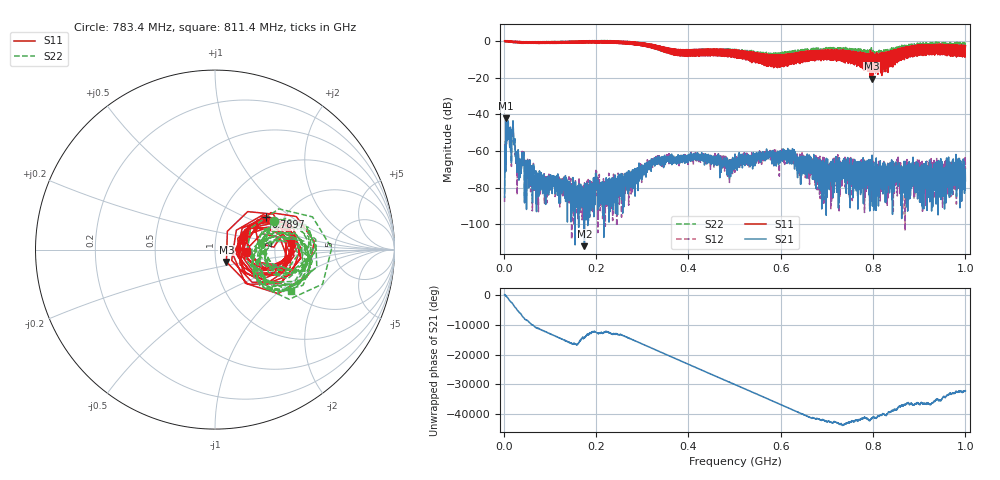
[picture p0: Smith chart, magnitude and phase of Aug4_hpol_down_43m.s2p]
!Keysight Technologies N9923A: A.12.45
!Date: Tuesday, 05 August 2025 19:08:16
!Timezone: (UTC+08:00) Kuala Lumpur, Singapore
!Model: N9923A
!Serial: MY61181427
!GPS Latitude:
!GPS Longitude:
!GPS TimeStamp: 0001-01-01 00:00:00Z
!GPS Seconds Since Last Read: 0
!CHECKSUM:1323468554
!Correction: S11(ON U)S21(ON U)S12(ON U)S22(ON U)
!S2P File: Measurements:S11,S21,S12,S22:
# Hz S DB R 50
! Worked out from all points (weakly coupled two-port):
!   4001 points, 2 MHz to 1 GHz, reference 50 ohm
!   highest |S21| = -42.17 dB at 4.994 MHz (marker M1); lowest = -111.9 dB at 174.9 MHz (marker M2)
!   lowest |S11| = -20.6 dB at 796.9 MHz (marker M3), VSWR 1.21, Z = 56.3 - j7.78 ohm
!   |S11| at or under -10 dB: 575.8151 MHz to 576.6016 MHz (786.4 kHz wide, 0.136 % of centre); 582.5526 MHz to 583.3481 MHz (795.6 kHz wide, 0.136 % of centre); 589.3044 MHz to 590.1067 MHz (802.3 kHz wide, 0.136 % of centre)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
!   |S22| runs from -14.8 to 0.2 dB; largest |S21 - S12| = 0.001
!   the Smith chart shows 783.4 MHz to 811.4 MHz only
!   S11 on the Smith chart (normalised r, x): 783.4 MHz: 1.42, -0.05; 789.7 MHz: 1.63, +0.66; 811.4 MHz: 2.47, +0.21
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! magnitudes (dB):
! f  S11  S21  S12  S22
! 2 MHz  -0.1  -85.2  -87.7  -0.1
! 4.994 MHz  0.1  -42.2  -42.1  0.1
! 9.735 MHz  -0.2  -43.7  -43.7  -0.2
! 22.71 MHz  -0.9  -55.8  -55.5  -0.8
! 30.94 MHz  -1.1  -59.7  -60.2  -1.2
! 60.63 MHz  -0.9  -68.6  -68.0  -0.9
! 71.11 MHz  -1.4  -93.0  -86.0  -1.3
! 168.4 MHz  -1.2  -87.4  -84.7  -1.0
! 174.9 MHz  -0.9  -111.9  -77.4  -0.6
! 248 MHz  -0.2  -76.6  -72.0  -0.3
! 334.8 MHz  -3.8  -66.2  -65.4  -4.5
! 501 MHz  -5.7  -61.7  -65.3  -6.5
! 572.4 MHz  -8.9  -61.9  -63.3  -6.7
! 667.4 MHz  -8.7  -65.3  -69.4  -8.6
! 702.6 MHz  -10.1  -68.7  -71.0  -7.1
! 783.4 MHz  -15.2  -76.3  -74.3  -8.8
! 789.7 MHz  -9.4  -78.4  -75.6  -5.3
! 796.9 MHz  -20.6  -67.4  -64.5  -7.5
! 811.4 MHz  -7.4  -75.6  -69.4  -6.4
! 833.8 MHz  -10.6  -71.2  -72.9  -5.4
! 986.5 MHz  -2.5  -69.5  -80.4  -2.2
! 1 GHz  -2.6  -76.3  -70.0  -2.4
